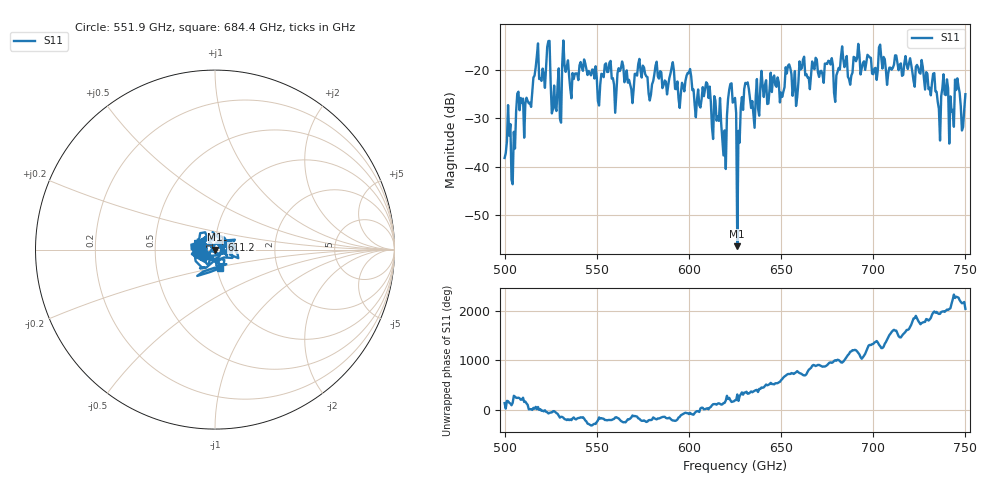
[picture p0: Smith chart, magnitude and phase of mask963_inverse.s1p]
!Created with skrf (http://scikit-rf.org).
# GHz S MA R 50.0
!freq magS11 angS11
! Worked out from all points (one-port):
!   401 points, 500 GHz to 750 GHz, reference 50 ohm
!   lowest |S11| = -56.5 dB at 626.2 GHz (marker M1), VSWR 1.00, Z = 50.1 - j0.101 ohm
!   |S11| at or under -10 dB: start of sweep to end of sweep
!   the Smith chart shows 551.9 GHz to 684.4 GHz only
!   S11 on the Smith chart (normalised r, x): 551.9 GHz: 0.87, -0.03; 611.2 GHz: 1.08, +0.12; 684.4 GHz: 1.03, -0.22
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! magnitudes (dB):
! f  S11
! 500 GHz  -38.2
! 505 GHz  -32.8
! 507.5 GHz  -24.5
! 513.8 GHz  -26.7
! 516.9 GHz  -19.4
! 523.8 GHz  -13.9
! 526.9 GHz  -23.2
! 531.2 GHz  -18.8
! 551.9 GHz  -23.0
! 562.5 GHz  -20.2
! 593.8 GHz  -22.3
! 600 GHz  -20.6
! 611.2 GHz  -23.4
! 618.8 GHz  -37.7
! 623.1 GHz  -22.7
! 625 GHz  -25.7
! 626.2 GHz  -56.5
! 631.2 GHz  -22.8
! 634.4 GHz  -26.4
! 656.2 GHz  -25.3
! 684.4 GHz  -19.3
! 687.5 GHz  -23.0
! 718.8 GHz  -19.7
! 735.6 GHz  -28.0
! 739.4 GHz  -25.2
! 742.5 GHz  -28.6
! 745.6 GHz  -21.7
! 750 GHz  -25.0
